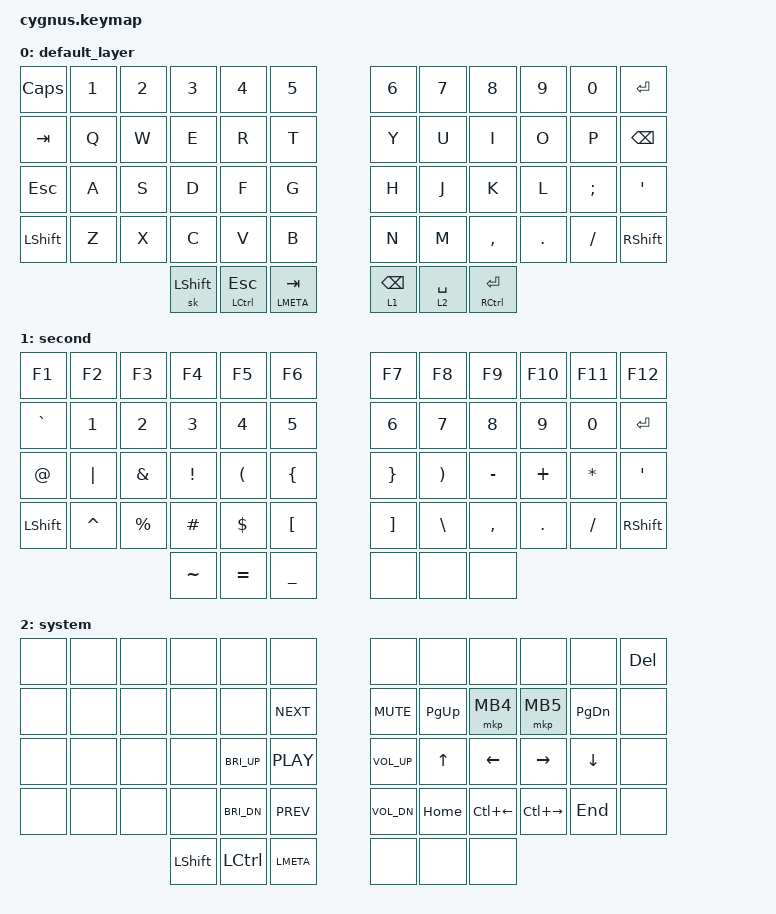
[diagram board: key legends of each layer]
/*
 * Copyright (c) 2020 The ZMK Contributors
 *
 * SPDX-License-Identifier: MIT
 */

#include <behaviors.dtsi>
#include <dt-bindings/zmk/bt.h>
#include <dt-bindings/zmk/ext_power.h>
#include <dt-bindings/zmk/keys.h>

#include <dt-bindings/zmk/pointing.h>

/ {


    // behaviors {
    //     right1: right1 {
    //         compatible = "zmk,behavior-hold-tap";
    //         #binding-cells = <0>;
    //
    //         flavor = "balanced";
    //         tapping-term-ms = <200>;
    //
    //         bindings = <&mo 1>, <&kp BSPC>;
    //     };
    //
    // };



    keymap {
        compatible = "zmk,keymap";

        default_layer {
// ------------------------------------------------------------------------------------------------------------
// |  CAPS |  1  |  2  |  3   |  4   |  5   |                   |  6   |  7    |  8    |  9   |   0   | ENTER |
// |  TAB  |  Q  |  W  |  E   |  R   |  T   |                   |  Y   |  U    |  I    |  O   |   P   | BPSC  |
// |  ESC  |  A  |  S  |  D   |  F   |  G   |                   |  H   |  J    |  K    |  L   |   ;   |   '   |
// | SHIFT |  Z  |  X  |  C   |  V   |  B   |                   |  N   |  M    |  ,    |  .   |   /   | SHIFT |
//                     | LOWER| SPACE|  ALT |                   | BSPC | SPACE | ENTER |
            bindings = <
&kp CAPS   &kp N1 &kp N2 &kp N3 &kp N4    &kp N5                &kp N6     &kp N7      &kp N8    &kp N9  &kp N0   &kp ENTER
&kp TAB    &kp Q  &kp W  &kp E  &kp R     &kp T                 &kp Y      &kp U       &kp I     &kp O   &kp P    &kp BSPC
&kp ESC    &kp A  &kp S  &kp D  &kp F     &kp G                 &kp H      &kp J       &kp K     &kp L   &kp SEMI &kp SQT
&kp LSHFT  &kp Z  &kp X  &kp C  &kp V     &kp B                 &kp N      &kp M       &kp COMMA &kp DOT &kp FSLH &kp RSHFT
           &sk LSHFT     &mt LCTRL ESC    &mt LMETA TAB         &lt 1 BSPC &lt 2 SPACE &mt RCTRL ENTER
            >;
        };

        second {
// ------------------------------------------------------------------------------------------------------------
// |   F1  |  F2 |  F3 |  F4  |  F5  |  F6  |                   |  F7  |   F8  |  F9  |  F10  |  F11  |  F12  |
// |   `   |  1  |  2  |  3   |  4   |  5   |                   |  6   |  7    |  8    |  9   |   0   | ENTER |
// |   @   |  |  |  &  |  !   |  (   |  {   |                   |  }   |  )    |  -    |  +   |   *   |   '   |
// | SHIFT |  ^  |  $  |  %   |  #   |  [   |                   |  ]   |  \    |  ,    |  .   |   /   | SHIFT |
//                     |  ~   |  =   |  _   |                   |      |       |       |
            bindings = <
&kp F1    &kp F2    &kp F3    &kp F4    &kp F5    &kp F6         &kp F7   &kp F8   &kp F9    &kp F10  &kp F11  &kp F12
&kp GRAVE &kp N1    &kp N2    &kp N3    &kp N4    &kp N5         &kp N6   &kp N7   &kp N8    &kp N9   &kp N0   &kp ENTER
&kp AT    &kp PIPE  &kp AMPS  &kp EXCL  &kp LPAR  &kp LBRC       &kp RBRC &kp RPAR &kp MINUS &kp PLUS &kp STAR &kp SQT
&kp LSHFT &kp CARET &kp PRCNT &kp HASH  &kp DLLR  &kp LBKT       &kp RBKT &kp BSLH &kp COMMA &kp DOT  &kp FSLH &kp RSHFT
                              &kp TILDE &kp EQUAL &kp UNDER      &none    &none    &none
            >;
        };

        system {
// ------------------------------------------------------------------------------------------------------------
// |       |     |     |      |      |       |                   |      |       |       |       |      | DEL |
// |       |     |     |      |      |  NEXT |                   | MUTE |  P_UP | M_BAC | M_FOR | P_DN |     |
// |       |     |     |      | B_UP |  PLAY |                   | V_UP |  UP   |  LEFT | RIGHT | DOWN |     |
// |       |     |     |      | B_DN |  PREV |                   | V_DN |  HOME |  C-L  |  C-R  | END  |     |
//                     | SHIFT| CTRL |  META |                   |      |       |       |
            bindings = <
&none &none &none &none &none        &none                       &none        &none     &none        &none         &none     &kp DEL
&none &none &none &none &none        &kp C_NEXT                  &kp C_MUTE   &kp PG_UP &mkp MB4     &mkp MB5      &kp PG_DN &none
&none &none &none &none &kp C_BRI_UP &kp C_PLAY                  &kp C_VOL_UP &kp UP    &kp LEFT     &kp RIGHT     &kp DOWN  &none
&none &none &none &none &kp C_BRI_DN &kp C_PREV                  &kp C_VOL_DN &kp HOME  &kp LC(LEFT) &kp LC(RIGHT) &kp END   &none
            &kp LSHFT   &kp LCTRL    &kp LMETA                   &none        &none     &none
            >;
        };





//         lower_layer {
// // ------------------------------------------------------------------------------------------------------------
// // | BTCLR | BT1 | BT2 |  BT3 |  BT4 |  BT5 |                   |      |       |       |      |       |       |
// // |  F1   |  F2 |  F3 |  F4  |  F5  |  F6  |                   |  F7  |  F8   |  F9   |  F10 |  F11  |  F12  |
// // |      |  !  |  @  |  #   |  $   |  %   |                   |  ^   |  &    |  *    |  (   |   )   |   ~   |
// // |STUDIO | EPON| EPOF| EPTOG|      |      |                   |  -   |  +    |  {   |   }  |  "|"  |       |
// //                     |      |      |      |                   |      |       |       |
//             bindings = <
// &bt BT_CLR      &bt BT_SEL 0     &bt BT_SEL 1      &bt BT_SEL 2      &bt BT_SEL 3 &bt BT_SEL 4    &trans    &trans   &trans    &trans   &trans   &trans
// &kp F1          &kp F2           &kp F3            &kp F4            &kp F5       &kp F6          &kp F7    &kp F8   &kp F9    &kp F10  &kp F11  &kp F12
// &kp GRAVE       &kp EXCL         &kp AT            &kp HASH          &kp DOLLAR   &kp PRCNT       &kp CARET &kp AMPS &kp ASTRK &kp LPAR &kp RPAR &kp TILDE
// &studio_unlock  &ext_power EP_ON &ext_power EP_OFF &ext_power EP_TOG &trans       &trans          &kp MINUS &kp PLUS &kp LBRC  &kp RBRC &kp PIPE &trans
//                                                    &trans            &trans       &trans          &trans    &trans   &trans
//             >;
//         };
//
//         raise_layer {
// // ------------------------------------------------------------------------------------------------------------
// // |       |     |     |      |      |      |                   |      |       |       |      |       |       |
// // |      |  1  |  2  |  3   |  4   |  5   |                   |  6   |   7   |   8   |  9   |   0   |       |
// // |   F1  |  F2 |  F3 |  F4  |  F5  |  F6  |                   |      |   <-  |   v   |  ^   |  ->   |       |
// // |   F7  |  F8 |  F9 |  F10 |  F11 |  F12 |                   |  +   |   -   |   =   |  [   |   ]   |   \   |
// //                     |      |      |      |                   |      |       |       |
//             bindings = <
// &trans    &trans &trans &trans  &trans  &trans      &trans   &trans    &trans    &trans   &trans   &trans
// &kp GRAVE &kp N1 &kp N2 &kp N3  &kp N4  &kp N5      &kp N6   &kp N7    &kp N8    &kp N9   &kp N0   &trans
// &kp F1    &kp F2 &kp F3 &kp F4  &kp F5  &kp F6      &trans   &kp LEFT  &kp DOWN  &kp UP   &kp RIGHT &trans
// &kp F7    &kp F8 &kp F9 &kp F10 &kp F11 &kp F12     &kp KP_PLUS &kp MINUS &kp EQUAL &kp LBKT &kp RBKT &kp BSLH
//                         &trans  &trans  &trans      &trans   &trans    &trans
//             >;
//         };
//
//         extra_layer_1 {
//             bindings = <
// &trans &trans &trans &trans &trans &trans   &trans &trans &trans &trans &trans &trans
// &trans &trans &trans &trans &trans &trans   &trans &trans &trans &trans &trans &trans
// &trans &trans &trans &trans &trans &trans   &trans &trans &trans &trans &trans &trans
// &trans &trans &trans &trans &trans &trans   &trans &trans &trans &trans &trans &trans
//                      &trans &trans &trans   &trans &trans &trans
//             >;
//         };
//
//         extra_layer_2 {
//             bindings = <
// &trans &trans &trans &trans &trans &trans   &trans &trans &trans &trans &trans &trans
// &trans &trans &trans &trans &trans &trans   &trans &trans &trans &trans &trans &trans
// &trans &trans &trans &trans &trans &trans   &trans &trans &trans &trans &trans &trans
// &trans &trans &trans &trans &trans &trans   &trans &trans &trans &trans &trans &trans
//                      &trans &trans &trans   &trans &trans &trans
//             >;
//         };
//
//         extra_layer_3 {
//             bindings = <
// &trans &trans &trans &trans &trans &trans   &trans &trans &trans &trans &trans &trans
// &trans &trans &trans &trans &trans &trans   &trans &trans &trans &trans &trans &trans
// &trans &trans &trans &trans &trans &trans   &trans &trans &trans &trans &trans &trans
// &trans &trans &trans &trans &trans &trans   &trans &trans &trans &trans &trans &trans
//                      &trans &trans &trans   &trans &trans &trans
//             >;
//         };
    };
};
